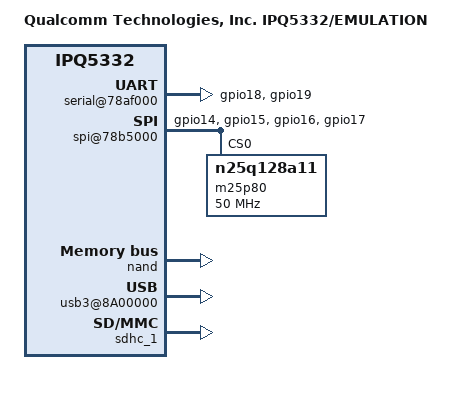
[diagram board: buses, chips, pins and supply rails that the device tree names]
// SPDX-License-Identifier: (GPL-2.0+ OR BSD-3-Clause)
/*
 * IPQ5332 Emulation board device tree source
 *
 * Copyright (c) 2020-2021 The Linux Foundation. All rights reserved.
 * Copyright (c) 2022 Qualcomm Innovation Center, Inc. All rights reserved.
 */

/dts-v1/;

#include "ipq5332.dtsi"
#include "ipq5332-default-memory.dtsi"

/ {
	#address-cells = <0x2>;
	#size-cells = <0x2>;
	model = "Qualcomm Technologies, Inc. IPQ5332/EMULATION";
	compatible = "qcom,ipq5332-ap-emulation", "qcom,ipq5332";
	interrupt-parent = <&intc>;

	clocks {
		sleep_clk: sleep-clk {
			clock-frequency = <320>;
		};

		xo: xo {
			clock-frequency = <240000>;
		};
	};

	aliases {
		serial0 = &blsp1_uart0;
		serial1 = &blsp1_uart1;
	};

	chosen {
		stdout-path = "serial0";
	};

	soc {
		pinctrl@1000000 {
			emmc_pins: emmc_pins {
				emmc_clk {
					pins = "gpio13";
					function = "sdc_clk";
					drive-strength = <8>;
					bias-disable;
				};
				emmc_cmd {
					pins = "gpio12";
					function = "sdc_cmd";
					drive-strength = <8>;
					bias-pull-up;
				};
				emmc_data {
					pins = "gpio8", "gpio9", "gpio10",
						"gpio11";
					function = "sdc_data";
					drive-strength = <8>;
					bias-pull-up;
				};
			};

			spi_0_pins: spi0-pinmux {
				pins = "gpio14", "gpio15", "gpio16", "gpio17";
				function = "blsp0_spi";
				drive-strength = <2>;
				bias-disable;
			};

			serial_0_pins: serial0-pinmux {
				pins = "gpio18", "gpio19";
				function = "blsp0_uart0";
				drive-strength = <8>;
				bias-pull-down;
			};

			serial_1_pins: serial1-pinmux {
				pins = "gpio25", "gpio26", "gpio27", "gpio28";
				function = "blsp1_uart1";
				drive-strength = <8>;
				bias-pull-down;
			};

			i2c_1_pins: i2c-1-pinmux {
				pins = "gpio29", "gpio30";
				function = "blsp1_i2c0";
				drive-strength = <8>;
				bias-disable;
			};
		};

		gcc: gcc@1800000 {
			gcc-use-dummy;
		};

		nsscc: nsscc@39b00000 {
			nsscc-use-dummy;
		};

		serial@78af000 {
			pinctrl-0 = <&serial_0_pins>;
			pinctrl-names = "default";
			status = "ok";
		};

		serial@78b0000 {
			pinctrl-0 = <&serial_1_pins>;
			pinctrl-names = "default";
		};

		spi@78b5000 {
			pinctrl-0 = <&spi_0_pins>;
			pinctrl-names = "default";
			cs-select = <0>;
			status = "ok";

			m25p80@0 {
				compatible = "n25q128a11";
				#address-cells = <1>;
				#size-cells = <1>;
				reg = <0>;
				spi-max-frequency = <50000000>;
			};
		};

		i2c_1: i2c@78b6000 {
			pinctrl-0 = <&i2c_1_pins>;
			pinctrl-names = "default";
		};

		dma@7984000 {
			status = "ok";
		};

		nand: nand@79b0000 {
			status = "ok";
		};

		/*Timer freq for rumi = timer freq / 100*/
		timer {
			clock-frequency = <240000>;
		};

		timer@b120000 {
			clock-frequency = <240000>;
		};

		usb3@8A00000 {
			status = "ok";

			dwc3@8A00000 {
				usb-phy = <>;
				phys = <>;
				phy-names = "";
			};
		};

		pcie2: pcie@10000000 {
			max-link-speed = <1>;
			perst-gpio = <&tlmm 40 GPIO_ACTIVE_LOW>;
			status = "disabled";
			pcie2_rp {
				reg = <0 0 0 0 0>;

				qcom,mhi@0 {
					reg = <0 0 0 0 0>;
				};
			};
		};

		pcie1: pcie@18000000 {
			max-link-speed = <1>;
			perst-gpio = <&tlmm 41 GPIO_ACTIVE_LOW>;
			status = "disabled";
			pcie1_rp {
				reg = <0 0 0 0 0>;

				qcom,mhi@1 {
					reg = <0 0 0 0 0>;
				};
			};
		};

		pcie0: pcie@20000000 {
			max-link-speed = <1>;
			perst-gpio = <&tlmm 42 GPIO_ACTIVE_LOW>;
			status = "disabled";
			pcie0_rp {
				reg = <0 0 0 0 0>;

				qcom,mhi@2 {
					reg = <0 0 0 0 0>;
				};
			};
		};

		q6v5_wcss: remoteproc@d100000 {
			qcom,emulation;
			qcom,nosecure;
			q6_wcss_pd1: remoteproc_pd1 {
				qcom,nosecure;
			};
		};
	};

};

&sdhc_1 {
	/* over-ride the frequency to 48Mhz for emulation platform */
	max-frequency = <48000000>;
	/* Force 3.3V, because only that will support on emulation platform */
	mmc-ddr-3_3v;
	qcom,emulation;
        status = "ok";
};
